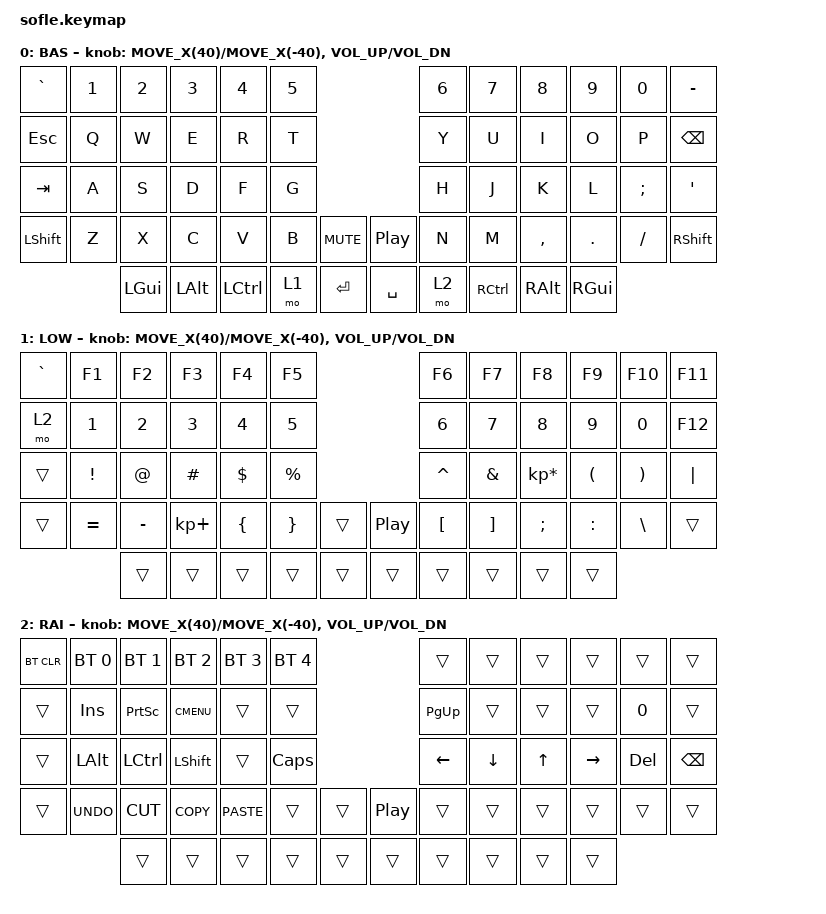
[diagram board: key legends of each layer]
/*
 * Copyright (c) 2020 The ZMK Contributors
 *
 * SPDX-License-Identifier: MIT
 */

#include <behaviors.dtsi>
#include <dt-bindings/zmk/bt.h>
#include <dt-bindings/zmk/ext_power.h>
#include <dt-bindings/zmk/keys.h>

/* ZMK mouse/scroll defines */
#define ZMK_POINTING_DEFAULT_SCRL_VAL 40
#include <dt-bindings/zmk/pointing.h>

 / {
    behaviors {
        /*
         * Horizontal scroll encoder wrapper.
         *
         * We use the variable sensor rotation behavior so we can pass different
         * parameters for CW and CCW at the sensor-bindings site.
         *
         * IMPORTANT: Increase tap-ms so the scroll "tap" lasts long enough to
         * produce a visible wheel event.
         */
        hscroll: hscroll {
            compatible = "zmk,behavior-sensor-rotate-var";
            #sensor-binding-cells = <2>;
            bindings = <&msc>, <&msc>;
            tap-ms = <40>;
        };
    };

    keymap {
        compatible = "zmk,keymap";

        default_layer {
            display-name = "BAS";

            bindings = <
&kp GRAVE  &kp N1  &kp N2    &kp N3    &kp N4     &kp N5                                   &kp N6  &kp N7     &kp N8     &kp N9    &kp N0    &kp MINUS
&kp ESC    &kp Q   &kp W     &kp E     &kp R      &kp T                                    &kp Y   &kp U      &kp I      &kp O     &kp P     &kp BSPC
&kp TAB    &kp A   &kp S     &kp D     &kp F      &kp G                                    &kp H   &kp J      &kp K      &kp L     &kp SEMI  &kp SQT
&kp LSHFT  &kp Z   &kp X     &kp C     &kp V      &kp B   &kp C_MUTE    &kp C_PLAY_PAUSE  &kp N   &kp M      &kp COMMA  &kp DOT   &kp FSLH  &kp RSHFT
                   &kp LGUI  &kp LALT  &kp LCTRL  &mo 1   &kp RET       &kp SPACE          &mo 2   &kp RCTRL  &kp RALT   &kp RGUI
            >;

            /*
             * Left encoder: true horizontal scroll wheel
             *   CW  -> MOVE_X(+40)  (scroll right)
             *   CCW -> MOVE_X(-40)  (scroll left)
             *
             * Right encoder: volume
             *   CW  -> C_VOL_UP
             *   CCW -> C_VOL_DN
             */
            sensor-bindings = <&hscroll MOVE_X(40) MOVE_X(-40) &inc_dec_kp C_VOL_UP C_VOL_DN>;
        };

        lower_layer {
            display-name = "LOW";

            bindings = <
&kp GRAVE  &kp F1     &kp F2     &kp F3       &kp F4    &kp F5                       &kp F6     &kp F7    &kp F8           &kp F9     &kp F10   &kp F11
&mo 2      &kp N1     &kp N2     &kp N3       &kp N4    &kp N5                       &kp N6     &kp N7    &kp N8           &kp N9     &kp N0    &kp F12
&trans     &kp EXCL   &kp AT     &kp HASH     &kp DLLR  &kp PRCNT                    &kp CARET  &kp AMPS  &kp KP_MULTIPLY  &kp LPAR   &kp RPAR  &kp PIPE
&trans     &kp EQUAL  &kp MINUS  &kp KP_PLUS  &kp LBRC  &kp RBRC   &trans    &kp C_PLAY_PAUSE  &kp LBKT   &kp RBKT  &kp SEMI         &kp COLON  &kp BSLH  &trans
                      &trans     &trans       &trans    &trans     &trans    &trans  &trans     &trans    &trans           &trans
            >;

            sensor-bindings = <&hscroll MOVE_X(40) MOVE_X(-40) &inc_dec_kp C_VOL_UP C_VOL_DN>;
        };

        raise_layer {
            display-name = "RAI";

            bindings = <
&bt BT_CLR  &bt BT_SEL 0  &bt BT_SEL 1  &bt BT_SEL 2  &bt BT_SEL 3  &bt BT_SEL 4                    &trans     &trans    &trans  &trans     &trans   &trans
&trans      &kp INS       &kp PSCRN     &kp K_CMENU   &trans        &trans                          &kp PG_UP  &trans    &trans  &trans     &kp N0   &trans
&trans      &kp LALT      &kp LCTRL     &kp LSHFT     &trans        &kp CLCK                        &kp LEFT   &kp DOWN  &kp UP  &kp RIGHT  &kp DEL  &kp BSPC
&trans      &kp K_UNDO    &kp K_CUT     &kp K_COPY    &kp K_PASTE   &trans        &trans    &kp C_PLAY_PAUSE  &trans     &trans    &trans  &trans     &trans   &trans
                          &trans        &trans        &trans        &trans        &trans    &trans  &trans     &trans    &trans  &trans
            >;

            sensor-bindings = <&hscroll MOVE_X(40) MOVE_X(-40) &inc_dec_kp C_VOL_UP C_VOL_DN>;
        };
    };
};
